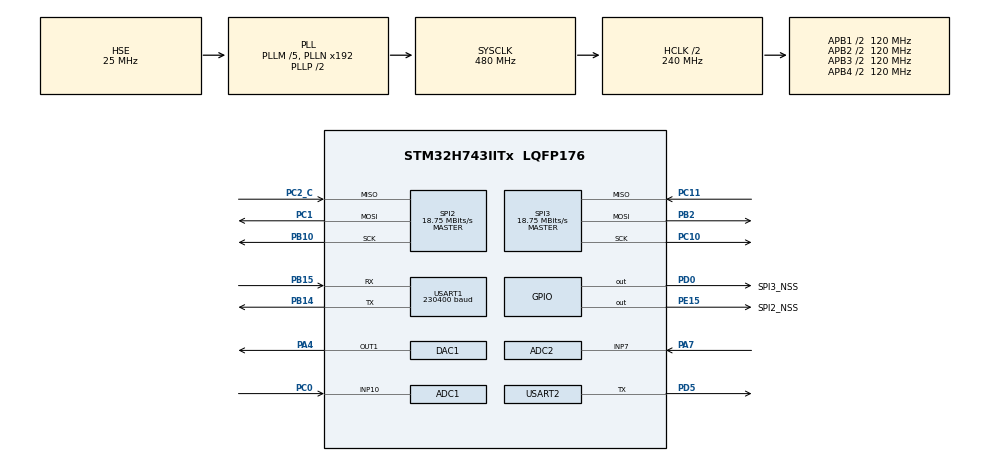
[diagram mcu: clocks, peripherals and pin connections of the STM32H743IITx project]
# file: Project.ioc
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ADC1.Channel-0\#ChannelRegularConversion=ADC_CHANNEL_10
ADC1.ClockPrescaler=ADC_CLOCK_ASYNC_DIV2
ADC1.ConversionDataManagement=ADC_CONVERSIONDATA_DMA_ONESHOT
ADC1.ExternalTrigConv=ADC_EXTERNALTRIG_T3_TRGO
ADC1.LowPowerAutoWait=DISABLE
ADC1.Mode=ADC_MODE_INDEPENDENT
ADC1.NbrOfConversion=1
ADC1.NbrOfConversionFlag=1
ADC1.OffsetNumber-0\#ChannelRegularConversion=ADC_OFFSET_NONE
ADC1.OffsetSignedSaturation-0\#ChannelRegularConversion=DISABLE
ADC1.Overrun=ADC_OVR_DATA_OVERWRITTEN
ADC1.OversamplingMode=DISABLE
ADC1.Rank-0\#ChannelRegularConversion=1
ADC1.SamplingTime-0\#ChannelRegularConversion=ADC_SAMPLETIME_8CYCLES_5
ADC1.master=1
ADC2.Channel-7\#ChannelRegularConversion=ADC_CHANNEL_7
ADC2.ClockPrescaler=ADC_CLOCK_ASYNC_DIV2
ADC2.ConversionDataManagement=ADC_CONVERSIONDATA_DMA_ONESHOT
ADC2.ExternalTrigConv=ADC_EXTERNALTRIG_T3_TRGO
ADC2.NbrOfConversionFlag=1
ADC2.OffsetNumber-7\#ChannelRegularConversion=ADC_OFFSET_NONE
ADC2.OffsetSignedSaturation-7\#ChannelRegularConversion=DISABLE
ADC2.Overrun=ADC_OVR_DATA_OVERWRITTEN
ADC2.Rank-7\#ChannelRegularConversion=1
ADC2.SamplingTime-7\#ChannelRegularConversion=ADC_SAMPLETIME_1CYCLE_5
CORTEX_M7.default_mode_Activation=1
DAC1.DAC_Channel-DAC_OUT1=DAC_CHANNEL_1
Dma.ADC1.0.Direction=DMA_PERIPH_TO_MEMORY
Dma.ADC1.0.EventEnable=DISABLE
Dma.ADC1.0.FIFOMode=DMA_FIFOMODE_DISABLE
Dma.ADC1.0.Instance=DMA1_Stream0
Dma.ADC1.0.MemDataAlignment=DMA_MDATAALIGN_HALFWORD
Dma.ADC1.0.MemInc=DMA_MINC_ENABLE
Dma.ADC1.0.Mode=DMA_NORMAL
Dma.ADC1.0.PeriphDataAlignment=DMA_PDATAALIGN_HALFWORD
Dma.ADC1.0.PeriphInc=DMA_PINC_DISABLE
Dma.ADC1.0.Polarity=HAL_DMAMUX_REQ_GEN_RISING
Dma.ADC1.0.Priority=DMA_PRIORITY_HIGH
Dma.ADC1.0.RequestNumber=1
Dma.ADC1.0.SignalID=NONE
Dma.ADC1.0.SyncEnable=DISABLE
Dma.ADC1.0.SyncPolarity=HAL_DMAMUX_SYNC_NO_EVENT
Dma.ADC1.0.SyncRequestNumber=1
Dma.ADC1.0.SyncSignalID=NONE
Dma.ADC2.1.Direction=DMA_PERIPH_TO_MEMORY
Dma.ADC2.1.EventEnable=DISABLE
Dma.ADC2.1.FIFOMode=DMA_FIFOMODE_DISABLE
Dma.ADC2.1.Instance=DMA1_Stream1
Dma.ADC2.1.MemDataAlignment=DMA_MDATAALIGN_HALFWORD
Dma.ADC2.1.MemInc=DMA_MINC_ENABLE
Dma.ADC2.1.Mode=DMA_NORMAL
Dma.ADC2.1.PeriphDataAlignment=DMA_PDATAALIGN_HALFWORD
Dma.ADC2.1.PeriphInc=DMA_PINC_DISABLE
Dma.ADC2.1.Polarity=HAL_DMAMUX_REQ_GEN_RISING
Dma.ADC2.1.Priority=DMA_PRIORITY_LOW
Dma.ADC2.1.RequestNumber=1
Dma.ADC2.1.SignalID=NONE
Dma.ADC2.1.SyncEnable=DISABLE
Dma.ADC2.1.SyncPolarity=HAL_DMAMUX_SYNC_NO_EVENT
Dma.ADC2.1.SyncRequestNumber=1
Dma.ADC2.1.SyncSignalID=NONE
Dma.Request0=ADC1
Dma.Request1=ADC2
Dma.Request2=USART1_RX
Dma.USART1_RX.2.Direction=DMA_PERIPH_TO_MEMORY
Dma.USART1_RX.2.EventEnable=DISABLE
Dma.USART1_RX.2.FIFOMode=DMA_FIFOMODE_DISABLE
Dma.USART1_RX.2.Instance=DMA1_Stream2
Dma.USART1_RX.2.MemDataAlignment=DMA_MDATAALIGN_BYTE
Dma.USART1_RX.2.MemInc=DMA_MINC_ENABLE
Dma.USART1_RX.2.Mode=DMA_NORMAL
Dma.USART1_RX.2.PeriphDataAlignment=DMA_PDATAALIGN_BYTE
Dma.USART1_RX.2.PeriphInc=DMA_PINC_DISABLE
Dma.USART1_RX.2.Polarity=HAL_DMAMUX_REQ_GEN_RISING
Dma.USART1_RX.2.Priority=DMA_PRIORITY_LOW
Dma.USART1_RX.2.RequestNumber=1
Dma.USART1_RX.2.SignalID=NONE
Dma.USART1_RX.2.SyncEnable=DISABLE
Dma.USART1_RX.2.SyncPolarity=HAL_DMAMUX_SYNC_NO_EVENT
Dma.USART1_RX.2.SyncRequestNumber=1
Dma.USART1_RX.2.SyncSignalID=NONE
Mcu.Family=STM32H7
Mcu.Name=STM32H743IITx
Mcu.Package=LQFP176
NVIC.ADC_IRQn=true\:0\:0\:false\:false\:true\:true\:true\:true
NVIC.DMA1_Stream0_IRQn=true\:0\:0\:false\:false\:true\:false\:true\:true
NVIC.DMA1_Stream1_IRQn=true\:0\:0\:false\:false\:true\:false\:true\:true
NVIC.DMA1_Stream2_IRQn=true\:0\:0\:false\:false\:true\:false\:true\:true
NVIC.PriorityGroup=NVIC_PRIORITYGROUP_4
NVIC.TIM3_IRQn=true\:0\:0\:false\:false\:true\:true\:true\:true
NVIC.USART1_IRQn=true\:0\:0\:false\:false\:true\:true\:true\:true
PA13\ (JTMS/SWDIO).Mode=Serial_Wire
PA13\ (JTMS/SWDIO).Signal=DEBUG_JTMS-SWDIO
PA14\ (JTCK/SWCLK).Mode=Serial_Wire
PA14\ (JTCK/SWCLK).Signal=DEBUG_JTCK-SWCLK
PA4.Signal=COMP_DAC11_group
PA7.Signal=ADCx_INP7
PB10.Mode=Full_Duplex_Master
PB10.Signal=SPI2_SCK
PB14.Mode=Asynchronous
PB14.Signal=USART1_TX
PB15.Mode=Asynchronous
PB15.Signal=USART1_RX
PB2.Mode=Full_Duplex_Master
PB2.Signal=SPI3_MOSI
PC0.Signal=ADCx_INP10
PC1.Mode=Full_Duplex_Master
PC1.Signal=SPI2_MOSI
PC10.Mode=Full_Duplex_Master
PC10.Signal=SPI3_SCK
PC11.Mode=Full_Duplex_Master
PC11.Signal=SPI3_MISO
PC2_C.Mode=Full_Duplex_Master
PC2_C.Signal=SPI2_MISO
PD0.GPIO_Label=SPI3_NSS
PD0.Signal=GPIO_Output
PD5.Mode=Asynchronous
PD5.Signal=USART2_TX
PE15.GPIO_Label=SPI2_NSS
PE15.Signal=GPIO_Output
PH0-OSC_IN\ (PH0).Mode=HSE-External-Oscillator
PH0-OSC_IN\ (PH0).Signal=RCC_OSC_IN
PH1-OSC_OUT\ (PH1).Mode=HSE-External-Oscillator
PH1-OSC_OUT\ (PH1).Signal=RCC_OSC_OUT
ProjectManager.HeapSize=0x200
ProjectManager.StackSize=0x400
ProjectManager.TargetToolchain=MDK-ARM V5.32
RCC.ADCFreq_Value=75000000
RCC.APB1Freq_Value=120000000
RCC.APB2Freq_Value=120000000
RCC.APB3Freq_Value=120000000
RCC.APB4Freq_Value=120000000
RCC.CortexFreq_Value=480000000
RCC.D1PPRE=RCC_APB3_DIV2
RCC.D2PPRE1=RCC_APB1_DIV2
RCC.D2PPRE2=RCC_APB2_DIV2
RCC.D3PPRE=RCC_APB4_DIV2
RCC.DIVM1=5
RCC.DIVM2=2
RCC.DIVN1=192
RCC.DIVN2=12
RCC.HCLKFreq_Value=240000000
RCC.HPRE=RCC_HCLK_DIV2
RCC.PLL2FRACN=0
RCC.PLL3FRACN=0
RCC.PLLFRACN=0
RCC.PLLSourceVirtual=RCC_PLLSOURCE_HSE
RCC.SPI123CLockSelection=RCC_SPI123CLKSOURCE_PLL2
RCC.SYSCLKFreq_VALUE=480000000
RCC.SYSCLKSource=RCC_SYSCLKSOURCE_PLLCLK
RCC.USBFreq_Value=480000000
SH.ADCx_INP10.0=ADC1_INP10,IN10-Single-Ended
SH.ADCx_INP7.0=ADC2_INP7,IN7-Single-Ended
SH.COMP_DAC11_group.0=DAC1_OUT1,DAC_OUT1
SPI2.BaudRatePrescaler=SPI_BAUDRATEPRESCALER_4
SPI2.CLKPolarity=SPI_POLARITY_HIGH
SPI2.CalculateBaudRate=18.75 MBits/s
SPI2.DataSize=SPI_DATASIZE_8BIT
SPI2.Direction=SPI_DIRECTION_2LINES
SPI2.Mode=SPI_MODE_MASTER
SPI2.VirtualType=VM_MASTER
SPI3.BaudRatePrescaler=SPI_BAUDRATEPRESCALER_4
SPI3.CLKPolarity=SPI_POLARITY_HIGH
SPI3.CalculateBaudRate=18.75 MBits/s
SPI3.DataSize=SPI_DATASIZE_8BIT
SPI3.Direction=SPI_DIRECTION_2LINES
SPI3.Mode=SPI_MODE_MASTER
SPI3.VirtualType=VM_MASTER
STMicroelectronics.X-CUBE-ALGOBUILD.1.4.0.LibraryCcDSPOoLibraryJjDSPOoLibrary=true
TIM3.AutoReloadPreload=TIM_AUTORELOAD_PRELOAD_ENABLE
TIM3.Period=234-1
TIM3.TIM_MasterOutputTrigger=TIM_TRGO_UPDATE
USART1.BaudRate=230400
USART1.VirtualMode-Asynchronous=VM_ASYNC
USART2.BaudRate=230400
USART2.Mode=MODE_TX
USART2.VirtualMode-Asynchronous=VM_ASYNC
VP_MEMORYMAP_VS_MEMORYMAP.Mode=CurAppReg
VP_STMicroelectronics.X-CUBE-ALGOBUILD_VS_DSPOoLibraryJjLibrary_1.4.0_1.4.0.Mode=DSPOoLibraryJjLibrary
VP_TIM3_VS_ClockSourceINT.Mode=Internal
board=custom

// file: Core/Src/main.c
/* USER CODE BEGIN Header */
/**
  ******************************************************************************
  * @file           : main.c
  * @brief          : Main program body
  ******************************************************************************
  * @attention
  *
  * Copyright (c) 2026 STMicroelectronics.
  * All rights reserved.
  *
  * This software is licensed under terms that can be found in the LICENSE file
  * in the root directory of this software component.
  * If no LICENSE file comes with this software, it is provided AS-IS.
  *
  ******************************************************************************
  */
/* USER CODE END Header */
#include "main.h"
#include "adc.h"
#include "dac.h"
#include "dma.h"
#include "spi.h"
#include "tim.h"
#include "usart.h"
#include "gpio.h"

/* USER CODE BEGIN Includes */
#include "stdio.h"
#include "arm_math.h"
#include "math.h"
#include "AD9833.h"
#include "My_Math.h"
#include "LMS.h"
#include "PID.h"

/* USER CODE END Includes */

/* USER CODE BEGIN PD */
#define	Sample_Size		1024
#define Half_size  		512
#define Double_size  		2048
#define USART1_Rx_DMA_Size	128
/* USER CODE END PD */

/* USER CODE BEGIN PM */
arm_cfft_instance_f32 cfft_handler;
arm_cfft_instance_f32 cfft_handler_512;

/* USER CODE END PM */

/* USER CODE BEGIN PV */
uint8_t  USART1_RxBuff[USART1_Rx_DMA_Size];	//串口接收缓冲数组

volatile uint8_t adc1_done = 0;	//ADC转换完成标志位
volatile uint8_t adc2_done = 0;	//ADC2转换完成标志位
static uint32_t Base1_CNT = 1;

volatile uint8_t FilterType = 0;	//滤波器类型

uint16_t ADC1_Buff[Sample_Size] = {0};
float ADC1_FFTIN[Double_size] = {0};
float ADC1_FFTOUT[Half_size] = {0};
float ADC1_Amp[Sweep_Num - 1] = {0};		//ADC1扫频各个频率分量的幅值

uint16_t ADC2_Buff[Sample_Size] = {0};
float ADC2_FFTIN[Double_size] = {0};
float ADC2_FFTOUT[Half_size] = {0};
float ADC2_Amp[Sweep_Num - 1] = {0};		//ADC2扫频各个频率分量的幅值

PID_t Base1_Require = {
	.Kp = 0,
	.Ki = 0,
	.Kd = 0,
};

uint16_t maxindex1 = 0;					//测试变量
float maxamp1 = 0;
uint16_t maxindex2 = 0;
float maxamp2 = 0;
uint16_t FREQ1;
uint16_t FREQ2;
float AMP1;
float AMP2;

/* USER CODE END PV */

void SystemClock_Config(void);
void PeriphCommonClock_Config(void);
static void MPU_Config(void);

/* USER CODE BEGIN 0 */
static uint8_t Flag = 0;

FilterType_t Filter_Learn(void);
/* USER CODE END 0 */

int main(void)
{

  /* MPU Configuration--------------------------------------------------------*/
  MPU_Config();

  /* MCU Configuration--------------------------------------------------------*/

  /* Reset of all peripherals, Initializes the Flash interface and the Systick. */
  HAL_Init();

  /* Configure the system clock */
  SystemClock_Config();

  /* Configure the peripherals common clocks */
  PeriphCommonClock_Config();

  /* Initialize all configured peripherals */
  MX_GPIO_Init();
  MX_DMA_Init();
  MX_ADC1_Init();
  MX_TIM3_Init();
  MX_USART1_UART_Init();
  MX_USART2_UART_Init();
  MX_SPI2_Init();
  MX_SPI3_Init();
  MX_ADC2_Init();
  MX_DAC1_Init();
  /* USER CODE BEGIN 2 */
  arm_cfft_init_f32(&cfft_handler, Sample_Size);
  arm_cfft_init_f32(&cfft_handler_512, Sample_Size / 2);

  AD98331_Init();
  AD98332_Init();

  PID_Init(&Base1_Require);

  khz(10);
  FPGA_Set_AmpPermille(1000);

  /* USER CODE END 2 */

  /* Infinite loop */
  /* USER CODE BEGIN WHILE */
  HAL_UARTEx_ReceiveToIdle_DMA(&huart1, USART1_RxBuff, USART1_Rx_DMA_Size);
  __HAL_DMA_DISABLE_IT(huart1.hdmarx, DMA_IT_HT);

//  AD98332_SetFrequencyQuick(1000, AD9833_OUT_SINUS);
//  HAL_DAC_SetValue(&hdac1, DAC_CHANNEL_1, DAC_ALIGN_12B_R, 400);
//  HAL_DAC_Start(&hdac1, DAC_CHANNEL_1);
//  HAL_ADC_Start_DMA(&hadc1, (uint32_t *)ADC1_Buff, Sample_Size);
//  HAL_ADC_Start_DMA(&hadc2, (uint32_t *)ADC2_Buff, Sample_Size);
//  HAL_TIM_Base_Start(&htim3);

  uint8_t Type = Math_JudegeFilter();

  while (1)
  {
//	  if (adc1_done == 1  && adc2_done == 1)
//	  {
//		  HAL_TIM_Base_Stop(&htim3);
//
//		  adc1_done = 0;
//		  adc2_done = 0;
//
//
//		  Math_PreFFT(ADC1_Buff, ADC1_FFTIN, Sample_Size);
//		  Math_PreFFT(ADC2_Buff, ADC2_FFTIN, Sample_Size);
//
//		  arm_cfft_f32(&cfft_handler, ADC1_FFTIN, 0, 1);
//		  arm_cfft_f32(&cfft_handler, ADC2_FFTIN, 0, 1);
//
//		  arm_cmplx_mag_f32(ADC1_FFTIN, ADC1_FFTOUT, Sample_Size / 2);
//		  arm_cmplx_mag_f32(ADC2_FFTIN, ADC2_FFTOUT, Sample_Size / 2);
//
//
//		  maxindex1 = 0;
//		  maxamp1 = 0;
//		  maxindex2 = 0;
//		  maxamp2 = 0;
//
//		  for (uint16_t i = 1; i < Sample_Size / 2; i ++)
//		  {
//			  if (ADC1_FFTOUT[i] > maxamp1){
//				  maxamp1 = ADC1_FFTOUT[i];
//				  maxindex1 = i;
//			  }
//			  if (ADC2_FFTOUT[i] > maxamp2){
//				  maxamp2 = ADC2_FFTOUT[i];
//				  maxindex2 = i;
//			  }
//			  printf("%f,%f\r\n", ADC1_FFTOUT[i], ADC2_FFTOUT[i]);
//		  }
//		  FREQ1 = 1024000 * maxindex1 / Sample_Size;
//		  FREQ2 = 1024000 * maxindex2 / Sample_Size;
//		  AMP1 = 4.0f * ADC1_FFTOUT[maxindex1] / Sample_Size;
//		  AMP2 = 4.0f * ADC2_FFTOUT[maxindex2] / Sample_Size;
//
//		  if (!Flag)
//		  {
//			  Flag ++;
//			  float Value = (400.0f * log10(2.0f / AMP2) + 150.0f) / 3300.0f * 4095.0f;
//			  HAL_DAC_SetValue(&hdac1, DAC_CHANNEL_1, DAC_ALIGN_12B_R, Value);
//			  HAL_DAC_Start(&hdac1, DAC_CHANNEL_1);
//		  }
////		  float Error_Voltage = AMP2 - 2.0f;
////		  Base1_Require.Actual = Error_Voltage;
////		  PID_Update(&Base1_Require);
////
////		  HAL_DAC_Stop(&hdac1, DAC_CHANNEL_1);
////		  HAL_DAC_SetValue(&hdac1, DAC_CHANNEL_1, DAC_ALIGN_12B_R, Base1_Require.Out);
////		  HAL_DAC_Start(&hdac1, DAC_CHANNEL_1);
//
//		  HAL_ADC_Start_DMA(&hadc1, (uint32_t *)ADC1_Buff, Sample_Size);
//		  HAL_ADC_Start_DMA(&hadc2, (uint32_t *)ADC2_Buff, Sample_Size);
//		  HAL_TIM_Base_Start(&htim3);
//	  }
    /* USER CODE END WHILE */

    /* USER CODE BEGIN 3 */
    khz(10);
    FPGA_Set_AmpPermille(1000);//100%
    HAL_Delay(2000);

    khz(20);
    FPGA_Set_AmpPermille(500);//50%
    HAL_Delay(2000);

    khz(30);
    FPGA_Set_AmpPermille(250);//25%
    HAL_Delay(2000);
  }
  /* USER CODE END 3 */
}

void SystemClock_Config(void)
{
  RCC_OscInitTypeDef RCC_OscInitStruct = {0};
  RCC_ClkInitTypeDef RCC_ClkInitStruct = {0};

  /** Supply configuration update enable
  */
  HAL_PWREx_ConfigSupply(PWR_LDO_SUPPLY);

  /** Configure the main internal regulator output voltage
  */
  __HAL_PWR_VOLTAGESCALING_CONFIG(PWR_REGULATOR_VOLTAGE_SCALE0);

  while(!__HAL_PWR_GET_FLAG(PWR_FLAG_VOSRDY)) {}

  /** Initializes the RCC Oscillators according to the specified parameters
  * in the RCC_OscInitTypeDef structure.
  */
  RCC_OscInitStruct.OscillatorType = RCC_OSCILLATORTYPE_HSE;
  RCC_OscInitStruct.HSEState = RCC_HSE_ON;
  RCC_OscInitStruct.PLL.PLLState = RCC_PLL_ON;
  RCC_OscInitStruct.PLL.PLLSource = RCC_PLLSOURCE_HSE;
  RCC_OscInitStruct.PLL.PLLM = 5;
  RCC_OscInitStruct.PLL.PLLN = 192;
  RCC_OscInitStruct.PLL.PLLP = 2;
  RCC_OscInitStruct.PLL.PLLQ = 2;
  RCC_OscInitStruct.PLL.PLLR = 2;
  RCC_OscInitStruct.PLL.PLLRGE = RCC_PLL1VCIRANGE_2;
  RCC_OscInitStruct.PLL.PLLVCOSEL = RCC_PLL1VCOWIDE;
  RCC_OscInitStruct.PLL.PLLFRACN = 0;
  if (HAL_RCC_OscConfig(&RCC_OscInitStruct) != HAL_OK)
  {
    Error_Handler();
  }

  /** Initializes the CPU, AHB and APB buses clocks
  */
  RCC_ClkInitStruct.ClockType = RCC_CLOCKTYPE_HCLK|RCC_CLOCKTYPE_SYSCLK
                              |RCC_CLOCKTYPE_PCLK1|RCC_CLOCKTYPE_PCLK2
                              |RCC_CLOCKTYPE_D3PCLK1|RCC_CLOCKTYPE_D1PCLK1;
  RCC_ClkInitStruct.SYSCLKSource = RCC_SYSCLKSOURCE_PLLCLK;
  RCC_ClkInitStruct.SYSCLKDivider = RCC_SYSCLK_DIV1;
  RCC_ClkInitStruct.AHBCLKDivider = RCC_HCLK_DIV2;
  RCC_ClkInitStruct.APB3CLKDivider = RCC_APB3_DIV2;
  RCC_ClkInitStruct.APB1CLKDivider = RCC_APB1_DIV2;
  RCC_ClkInitStruct.APB2CLKDivider = RCC_APB2_DIV2;
  RCC_ClkInitStruct.APB4CLKDivider = RCC_APB4_DIV2;

  if (HAL_RCC_ClockConfig(&RCC_ClkInitStruct, FLASH_LATENCY_4) != HAL_OK)
  {
    Error_Handler();
  }
}

void PeriphCommonClock_Config(void)
{
  RCC_PeriphCLKInitTypeDef PeriphClkInitStruct = {0};

  /** Initializes the peripherals clock
  */
  PeriphClkInitStruct.PeriphClockSelection = RCC_PERIPHCLK_ADC|RCC_PERIPHCLK_SPI3
                              |RCC_PERIPHCLK_SPI2;
  PeriphClkInitStruct.PLL2.PLL2M = 2;
  PeriphClkInitStruct.PLL2.PLL2N = 12;
  PeriphClkInitStruct.PLL2.PLL2P = 2;
  PeriphClkInitStruct.PLL2.PLL2Q = 2;
  PeriphClkInitStruct.PLL2.PLL2R = 2;
  PeriphClkInitStruct.PLL2.PLL2RGE = RCC_PLL2VCIRANGE_3;
  PeriphClkInitStruct.PLL2.PLL2VCOSEL = RCC_PLL2VCOMEDIUM;
  PeriphClkInitStruct.PLL2.PLL2FRACN = 0;
  PeriphClkInitStruct.Spi123ClockSelection = RCC_SPI123CLKSOURCE_PLL2;
  PeriphClkInitStruct.AdcClockSelection = RCC_ADCCLKSOURCE_PLL2;
  if (HAL_RCCEx_PeriphCLKConfig(&PeriphClkInitStruct) != HAL_OK)
  {
    Error_Handler();
  }
}

/* USER CODE BEGIN 4 */
void HAL_TIM_PeriodElapsedCallback(TIM_HandleTypeDef *htim)
{
	if (htim == &htim3){

	}
}

void HAL_ADC_ConvCpltCallback(ADC_HandleTypeDef* hadc)
{
	if (hadc == &hadc1){
		adc1_done = 1;
	}
	if (hadc == &hadc2){
		adc2_done = 1;
	}
}

void HAL_UARTEx_RxEventCallback(UART_HandleTypeDef *huart, uint16_t Size)
{
	if (huart == &huart1)
	{
		UART_ParaData(USART1_RxBuff, Size);

		HAL_UARTEx_ReceiveToIdle_DMA(&huart1, USART1_RxBuff, USART1_Rx_DMA_Size);
		__HAL_DMA_DISABLE_IT(huart1.hdmarx, DMA_IT_HT);
	}
}

int fputc(int ch, FILE *f)
{
    HAL_UART_Transmit(&huart1, (uint8_t *)&ch, 1, 100);
    return ch;
}
/* USER CODE END 4 */

 /* MPU Configuration */

void MPU_Config(void)
{
  MPU_Region_InitTypeDef MPU_InitStruct = {0};

  /* Disables the MPU */
  HAL_MPU_Disable();

  /** Initializes and configures the Region and the memory to be protected
  */
  MPU_InitStruct.Enable = MPU_REGION_ENABLE;
  MPU_InitStruct.Number = MPU_REGION_NUMBER0;
  MPU_InitStruct.BaseAddress = 0x0;
  MPU_InitStruct.Size = MPU_REGION_SIZE_4GB;
  MPU_InitStruct.SubRegionDisable = 0x87;
  MPU_InitStruct.TypeExtField = MPU_TEX_LEVEL0;
  MPU_InitStruct.AccessPermission = MPU_REGION_NO_ACCESS;
  MPU_InitStruct.DisableExec = MPU_INSTRUCTION_ACCESS_DISABLE;
  MPU_InitStruct.IsShareable = MPU_ACCESS_SHAREABLE;
  MPU_InitStruct.IsCacheable = MPU_ACCESS_NOT_CACHEABLE;
  MPU_InitStruct.IsBufferable = MPU_ACCESS_NOT_BUFFERABLE;

  HAL_MPU_ConfigRegion(&MPU_InitStruct);
  /* Enables the MPU */
  HAL_MPU_Enable(MPU_PRIVILEGED_DEFAULT);

}

void Error_Handler(void)
{
  __disable_irq();
  while (1)
  {
  }
}
